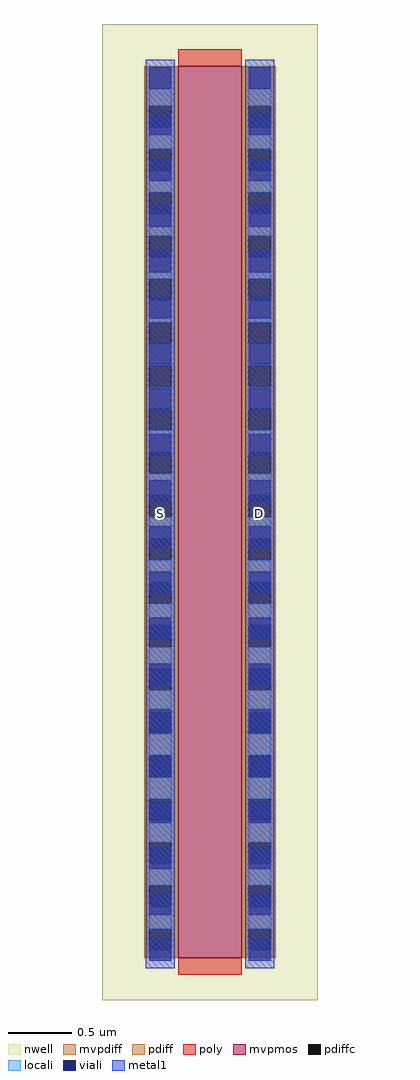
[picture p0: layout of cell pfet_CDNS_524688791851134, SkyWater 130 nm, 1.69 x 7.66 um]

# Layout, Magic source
magic
tech sky130B
magscale 1 2
<< nwell >>
rect -119 -66 219 1466
<< mvpmos >>
rect 0 0 100 1400
<< mvpdiff >>
rect -50 0 0 1400
rect 100 0 150 1400
<< poly >>
rect 0 1400 100 1426
rect 0 -26 100 0
<< metal1 >>
rect -51 -16 -5 1410
rect 105 -16 151 1410
use DFM1sd_CDNS_524688791851132  DFM1sd_CDNS_524688791851132_0
transform -1 0 0 0 1 0
box -36 -36 89 1436
use DFM1sd_CDNS_524688791851132  DFM1sd_CDNS_524688791851132_1
transform 1 0 100 0 1 0
box -36 -36 89 1436
<< labels >>
flabel comment s -28 697 -28 697 0 FreeSans 300 0 0 0 S
flabel comment s 128 697 128 697 0 FreeSans 300 0 0 0 D
<< properties >>
string GDS_END 78922222
string GDS_FILE $PDKPATH/libs.ref/sky130_fd_io/gds/sky130_fd_io.gds
string GDS_START 78921204
<< end >>

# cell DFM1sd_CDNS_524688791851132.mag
magic
tech sky130B
magscale 1 2
<< nwell >>
rect -36 -36 89 1436
<< pdiff >>
rect 0 1338 53 1400
rect 0 1304 11 1338
rect 45 1304 53 1338
rect 0 1270 53 1304
rect 0 1236 11 1270
rect 45 1236 53 1270
rect 0 1202 53 1236
rect 0 1168 11 1202
rect 45 1168 53 1202
rect 0 1134 53 1168
rect 0 1100 11 1134
rect 45 1100 53 1134
rect 0 1066 53 1100
rect 0 1032 11 1066
rect 45 1032 53 1066
rect 0 998 53 1032
rect 0 964 11 998
rect 45 964 53 998
rect 0 930 53 964
rect 0 896 11 930
rect 45 896 53 930
rect 0 862 53 896
rect 0 828 11 862
rect 45 828 53 862
rect 0 794 53 828
rect 0 760 11 794
rect 45 760 53 794
rect 0 726 53 760
rect 0 692 11 726
rect 45 692 53 726
rect 0 658 53 692
rect 0 624 11 658
rect 45 624 53 658
rect 0 590 53 624
rect 0 556 11 590
rect 45 556 53 590
rect 0 522 53 556
rect 0 488 11 522
rect 45 488 53 522
rect 0 454 53 488
rect 0 420 11 454
rect 45 420 53 454
rect 0 386 53 420
rect 0 352 11 386
rect 45 352 53 386
rect 0 318 53 352
rect 0 284 11 318
rect 45 284 53 318
rect 0 250 53 284
rect 0 216 11 250
rect 45 216 53 250
rect 0 182 53 216
rect 0 148 11 182
rect 45 148 53 182
rect 0 114 53 148
rect 0 80 11 114
rect 45 80 53 114
rect 0 46 53 80
rect 0 12 11 46
rect 45 12 53 46
rect 0 0 53 12
<< pdiffc >>
rect 11 1304 45 1338
rect 11 1236 45 1270
rect 11 1168 45 1202
rect 11 1100 45 1134
rect 11 1032 45 1066
rect 11 964 45 998
rect 11 896 45 930
rect 11 828 45 862
rect 11 760 45 794
rect 11 692 45 726
rect 11 624 45 658
rect 11 556 45 590
rect 11 488 45 522
rect 11 420 45 454
rect 11 352 45 386
rect 11 284 45 318
rect 11 216 45 250
rect 11 148 45 182
rect 11 80 45 114
rect 11 12 45 46
<< locali >>
rect 11 1338 45 1364
rect 11 1270 45 1292
rect 11 1202 45 1220
rect 11 1134 45 1148
rect 11 1066 45 1076
rect 11 998 45 1004
rect 11 930 45 932
rect 11 894 45 896
rect 11 822 45 828
rect 11 750 45 760
rect 11 678 45 692
rect 11 606 45 624
rect 11 534 45 556
rect 11 462 45 488
rect 11 390 45 420
rect 11 318 45 352
rect 11 250 45 284
rect 11 182 45 212
rect 11 114 45 140
rect 11 46 45 68
<< viali >>
rect 11 1364 45 1398
rect 11 1304 45 1326
rect 11 1292 45 1304
rect 11 1236 45 1254
rect 11 1220 45 1236
rect 11 1168 45 1182
rect 11 1148 45 1168
rect 11 1100 45 1110
rect 11 1076 45 1100
rect 11 1032 45 1038
rect 11 1004 45 1032
rect 11 964 45 966
rect 11 932 45 964
rect 11 862 45 894
rect 11 860 45 862
rect 11 794 45 822
rect 11 788 45 794
rect 11 726 45 750
rect 11 716 45 726
rect 11 658 45 678
rect 11 644 45 658
rect 11 590 45 606
rect 11 572 45 590
rect 11 522 45 534
rect 11 500 45 522
rect 11 454 45 462
rect 11 428 45 454
rect 11 386 45 390
rect 11 356 45 386
rect 11 284 45 318
rect 11 216 45 246
rect 11 212 45 216
rect 11 148 45 174
rect 11 140 45 148
rect 11 80 45 102
rect 11 68 45 80
rect 11 12 45 30
rect 11 -4 45 12
<< metal1 >>
rect 5 1398 51 1410
rect 5 1364 11 1398
rect 45 1364 51 1398
rect 5 1326 51 1364
rect 5 1292 11 1326
rect 45 1292 51 1326
rect 5 1254 51 1292
rect 5 1220 11 1254
rect 45 1220 51 1254
rect 5 1182 51 1220
rect 5 1148 11 1182
rect 45 1148 51 1182
rect 5 1110 51 1148
rect 5 1076 11 1110
rect 45 1076 51 1110
rect 5 1038 51 1076
rect 5 1004 11 1038
rect 45 1004 51 1038
rect 5 966 51 1004
rect 5 932 11 966
rect 45 932 51 966
rect 5 894 51 932
rect 5 860 11 894
rect 45 860 51 894
rect 5 822 51 860
rect 5 788 11 822
rect 45 788 51 822
rect 5 750 51 788
rect 5 716 11 750
rect 45 716 51 750
rect 5 678 51 716
rect 5 644 11 678
rect 45 644 51 678
rect 5 606 51 644
rect 5 572 11 606
rect 45 572 51 606
rect 5 534 51 572
rect 5 500 11 534
rect 45 500 51 534
rect 5 462 51 500
rect 5 428 11 462
rect 45 428 51 462
rect 5 390 51 428
rect 5 356 11 390
rect 45 356 51 390
rect 5 318 51 356
rect 5 284 11 318
rect 45 284 51 318
rect 5 246 51 284
rect 5 212 11 246
rect 45 212 51 246
rect 5 174 51 212
rect 5 140 11 174
rect 45 140 51 174
rect 5 102 51 140
rect 5 68 11 102
rect 45 68 51 102
rect 5 30 51 68
rect 5 -4 11 30
rect 45 -4 51 30
rect 5 -16 51 -4
<< properties >>
string GDS_END 78921146
string GDS_FILE $PDKPATH/libs.ref/sky130_fd_io/gds/sky130_fd_io.gds
string GDS_START 78918262
<< end >>
